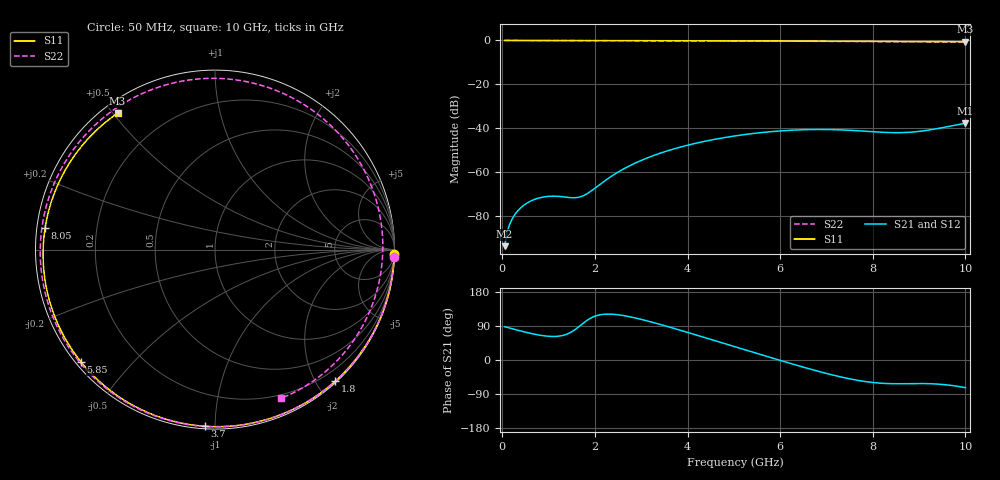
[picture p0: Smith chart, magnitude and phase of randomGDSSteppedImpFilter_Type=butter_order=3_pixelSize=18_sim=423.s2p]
! freq	dB(S11)	phase(S11)	dB(S12)	phase(S12)
!  dB(S21)	phase(S21)	dB(S22)	phase(S22)
!S-par simulation data
#  GHz  S  DB  R 50
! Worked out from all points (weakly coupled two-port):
!   200 points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, 50 MHz to 10 GHz, reference 50 ohm
!   highest |S21| = -37.69 dB at 10 GHz (marker M1); lowest = -93.7 dB at 50 MHz (marker M2)
!   lowest |S11| = -0.6 dB at 10 GHz (marker M3), VSWR 29.17, Z = 2.17 + j25.7 ohm
!   |S11| at or under -10 dB: nowhere
!   |S22| runs from -0.9 to 0.0 dB; largest |S21 - S12| = 0
!   S11 on the Smith chart (normalised r, x): 50 MHz: 1, -83; 1.8 GHz: 0.02, -2.27; 3.7 GHz: 0.01, -0.94; 5.85 GHz: 0.01, -0.36; 8.05 GHz: 0.02, +0.06; 10 GHz: 0.04, +0.51
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0.05  -0.00 -1.4  -93.68 87.9  -93.68 87.9  -0.00 -2.2
0.25  -0.01 -6.8  -79.95 81.4  -79.95 81.4  -0.01 -10.9
0.5  -0.02 -13.5  -74.51 73.5  -74.51 73.5  -0.02 -21.7
0.8  -0.02 -21.5  -71.69 65.7  -71.69 65.7  -0.04 -34.5
1.3  -0.04 -34.6  -71.17 64.6  -71.17 64.6  -0.07 -55.2
1.75  -0.06 -46.2  -70.69 97.4  -70.69 97.4  -0.09 -73.3
1.8  -0.06 -47.5  -70.16 102.0  -70.16 102.0  -0.09 -75.2
2.55  -0.08 -66.2  -59.33 118.6  -59.33 118.6  -0.12 -103.7
3.4  -0.11 -86.4  -51.40 94.2  -51.40 94.2  -0.16 -134.3
3.7  -0.12 -93.3  -49.42 83.7  -49.42 83.7  -0.17 -144.8
4.4  -0.15 -108.9  -45.80 58.2  -45.80 58.2  -0.21 -169.5
5.05  -0.18 -123.0  -43.39 34.1  -43.39 34.1  -0.26 167.0
5.85  -0.23 -140.0  -41.45 4.4  -41.45 4.4  -0.32 136.1
6.3  -0.26 -149.5  -40.82 -11.8  -40.82 -11.8  -0.36 117.2
6.7  -0.29 -157.9  -40.56 -25.7  -40.56 -25.7  -0.39 99.4
7.35  -0.34 -171.8  -40.76 -45.8  -40.76 -45.8  -0.45 68.3
8.05  -0.41 172.8  -41.62 -59.9  -41.62 -59.9  -0.51 32.6
8.35  -0.44 166.1  -41.94 -62.3  -41.94 -62.3  -0.54 16.9
8.7  -0.47 158.0  -41.92 -62.5  -41.92 -62.5  -0.59 -1.4
9.1  -0.51 148.4  -41.14 -62.2  -41.14 -62.2  -0.65 -21.9
9.55  -0.55 137.2  -39.53 -65.1  -39.53 -65.1  -0.74 -44.3
10  -0.60 125.6  -37.69 -72.9  -37.69 -72.9  -0.85 -66.0
